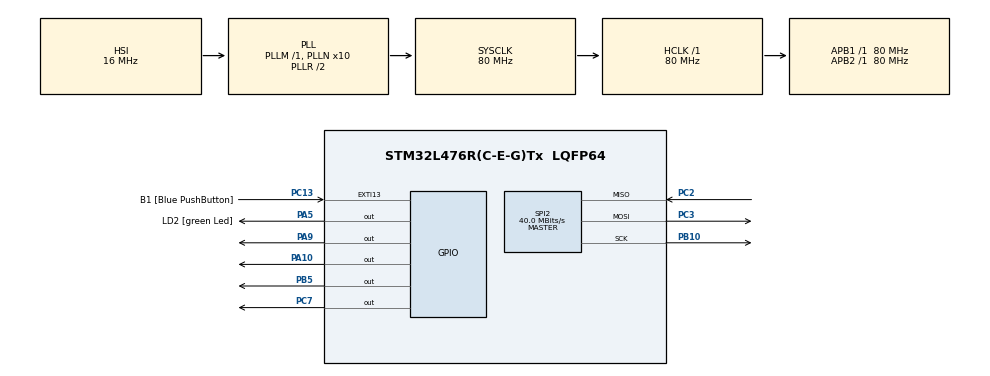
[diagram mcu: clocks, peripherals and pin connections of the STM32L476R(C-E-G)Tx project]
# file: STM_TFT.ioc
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Mcu.Family=STM32L4
Mcu.Name=STM32L476R(C-E-G)Tx
Mcu.Package=LQFP64
NVIC.PriorityGroup=NVIC_PRIORITYGROUP_4
PA10.Signal=GPIO_Output
PA13\ (JTMS-SWDIO).GPIO_Label=TMS
PA13\ (JTMS-SWDIO).Signal=SYS_JTMS-SWDIO
PA14\ (JTCK-SWCLK).GPIO_Label=TCK
PA14\ (JTCK-SWCLK).Signal=SYS_JTCK-SWCLK
PA2.GPIO_Label=USART_TX
PA2.GPIO_Mode=GPIO_MODE_AF_PP
PA2.GPIO_PuPd=GPIO_NOPULL
PA2.GPIO_Speed=GPIO_SPEED_FREQ_VERY_HIGH
PA2.Signal=USART2_TX
PA3.GPIO_Label=USART_RX
PA3.GPIO_Mode=GPIO_MODE_AF_PP
PA3.GPIO_PuPd=GPIO_NOPULL
PA3.GPIO_Speed=GPIO_SPEED_FREQ_VERY_HIGH
PA3.Signal=USART2_RX
PA5.GPIO_Label=LD2 [green Led]
PA5.GPIO_ModeDefaultOutputPP=GPIO_MODE_OUTPUT_PP
PA5.GPIO_PuPd=GPIO_NOPULL
PA5.GPIO_Speed=GPIO_SPEED_FREQ_LOW
PA5.Signal=GPIO_Output
PA9.Signal=GPIO_Output
PB10.Mode=Full_Duplex_Master
PB10.Signal=SPI2_SCK
PB3\ (JTDO-TRACESWO).GPIO_Label=SWO
PB3\ (JTDO-TRACESWO).Signal=SYS_JTDO-SWO
PB5.Signal=GPIO_Output
PC13.GPIO_Label=B1 [Blue PushButton]
PC13.GPIO_ModeDefaultEXTI=GPIO_MODE_IT_FALLING
PC13.GPIO_PuPd=GPIO_NOPULL
PC13.Signal=GPXTI13
PC14-OSC32_IN\ (PC14).Signal=RCC_OSC32_IN
PC15-OSC32_OUT\ (PC15).Signal=RCC_OSC32_OUT
PC2.Mode=Full_Duplex_Master
PC2.Signal=SPI2_MISO
PC3.Mode=Full_Duplex_Master
PC3.Signal=SPI2_MOSI
PC7.Signal=GPIO_Output
PH0-OSC_IN\ (PH0).Signal=RCC_OSC_IN
PH1-OSC_OUT\ (PH1).Signal=RCC_OSC_OUT
ProjectManager.HeapSize=0x200
ProjectManager.StackSize=0x400
ProjectManager.TargetToolchain=STM32CubeIDE
RCC.ADCFreq_Value=64000000
RCC.AHBFreq_Value=80000000
RCC.APB1Freq_Value=80000000
RCC.APB1TimFreq_Value=80000000
RCC.APB2Freq_Value=80000000
RCC.APB2TimFreq_Value=80000000
RCC.CortexFreq_Value=80000000
RCC.HCLKFreq_Value=80000000
RCC.HSE_VALUE=8000000
RCC.HSI_VALUE=16000000
RCC.LSE_VALUE=32768
RCC.MSI_VALUE=4000000
RCC.PLLN=10
RCC.PLLSourceVirtual=RCC_PLLSOURCE_HSI
RCC.PREFETCH_ENABLE=1
RCC.SYSCLKFreq_VALUE=80000000
RCC.SYSCLKSource=RCC_SYSCLKSOURCE_PLLCLK
RCC.USBFreq_Value=64000000
RCC.VCOOutputFreq_Value=160000000
SPI2.CalculateBaudRate=40.0 MBits/s
SPI2.DataSize=SPI_DATASIZE_8BIT
SPI2.Direction=SPI_DIRECTION_2LINES
SPI2.FirstBit=SPI_FIRSTBIT_MSB
SPI2.Mode=SPI_MODE_MASTER
SPI2.NSSPMode=SPI_NSS_PULSE_DISABLE
SPI2.VirtualType=VM_MASTER
board=NUCLEO-L476RG

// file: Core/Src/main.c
/* USER CODE BEGIN Header */
/**
  ******************************************************************************
  * @file           : main.c
  * @brief          : Main program body
  ******************************************************************************
  * @attention
  *
  * Copyright (c) 2026 STMicroelectronics.
  * All rights reserved.
  *
  * This software is licensed under terms that can be found in the LICENSE file
  * in the root directory of this software component.
  * If no LICENSE file comes with this software, it is provided AS-IS.
  *
  ******************************************************************************
  */
/* USER CODE END Header */
#include "main.h"
#include "spi.h"
#include "gpio.h"

/* USER CODE BEGIN Includes */
#include "core/include/platform.h"
#include "core/include/tft.h"
#include "core/include/spi_display.h"
#include "core/include/utils.h"
#include "core/include/scene.h"

/* USER CODE END Includes */

/* USER CODE BEGIN PV */
extern spi_display_t stm32_spi;
spi_display_t *spi_display = &stm32_spi;

extern scene_t cube_scene;
extern display_config_t ili9341_display_config;

gfx_t *active_gfx;
/* USER CODE END PV */

void SystemClock_Config(void);

/* USER CODE BEGIN 0 */

void delay_ms(uint32_t ms) {
    HAL_Delay(ms);
}

void platform_set_led(bool on) {
	HAL_GPIO_WritePin(GPIOC, GPIO_PIN_7,  on ? GPIO_PIN_SET : GPIO_PIN_RESET);
}

void platform_log(platform_log_level_t level, const char *tag, const char *fmt, ...) {
	// XXX do nothing for now
}

uint64_t now_ms(void) {
    return HAL_GetTick();
}

/* USER CODE END 0 */

int main(void)
{

  /* MCU Configuration--------------------------------------------------------*/

  /* Reset of all peripherals, Initializes the Flash interface and the Systick. */
  HAL_Init();

  /* Configure the system clock */
  SystemClock_Config();

  /* Initialize all configured peripherals */
  MX_GPIO_Init();
  MX_SPI2_Init();
  /* USER CODE BEGIN 2 */

  stm32_spi.spi_init();

  tft_init_config_t config = {
      .rotation = TFT_Landscape_Flipped,
      .display_config = &ili9341_display_config
  };

  active_gfx = tft_init(config);

  cube_scene.scene_init(&ili9341_display_config);

  scene_object_t *fps_text = active_gfx->gfx_add_text(0, 0, "FPS: 0", 1, get_color565(255, 255, 255));

  active_gfx->gfx_render();
  /* USER CODE END 2 */

  /* Infinite loop */
  /* USER CODE BEGIN WHILE */
  while (1)
  {
    cube_scene.scene_update(NULL);

    app_do_fps(fps_text);
    active_gfx->gfx_render();
    /* USER CODE END WHILE */

  }
}

void SystemClock_Config(void)
{
  RCC_OscInitTypeDef RCC_OscInitStruct = {0};
  RCC_ClkInitTypeDef RCC_ClkInitStruct = {0};

  /** Configure the main internal regulator output voltage
  */
  if (HAL_PWREx_ControlVoltageScaling(PWR_REGULATOR_VOLTAGE_SCALE1) != HAL_OK)
  {
    Error_Handler();
  }

  /** Initializes the RCC Oscillators according to the specified parameters
  * in the RCC_OscInitTypeDef structure.
  */
  RCC_OscInitStruct.OscillatorType = RCC_OSCILLATORTYPE_HSI;
  RCC_OscInitStruct.HSIState = RCC_HSI_ON;
  RCC_OscInitStruct.HSICalibrationValue = RCC_HSICALIBRATION_DEFAULT;
  RCC_OscInitStruct.PLL.PLLState = RCC_PLL_ON;
  RCC_OscInitStruct.PLL.PLLSource = RCC_PLLSOURCE_HSI;
  RCC_OscInitStruct.PLL.PLLM = 1;
  RCC_OscInitStruct.PLL.PLLN = 10;
  RCC_OscInitStruct.PLL.PLLP = RCC_PLLP_DIV7;
  RCC_OscInitStruct.PLL.PLLQ = RCC_PLLQ_DIV2;
  RCC_OscInitStruct.PLL.PLLR = RCC_PLLR_DIV2;
  if (HAL_RCC_OscConfig(&RCC_OscInitStruct) != HAL_OK)
  {
    Error_Handler();
  }

  /** Initializes the CPU, AHB and APB buses clocks
  */
  RCC_ClkInitStruct.ClockType = RCC_CLOCKTYPE_HCLK|RCC_CLOCKTYPE_SYSCLK
                              |RCC_CLOCKTYPE_PCLK1|RCC_CLOCKTYPE_PCLK2;
  RCC_ClkInitStruct.SYSCLKSource = RCC_SYSCLKSOURCE_PLLCLK;
  RCC_ClkInitStruct.AHBCLKDivider = RCC_SYSCLK_DIV1;
  RCC_ClkInitStruct.APB1CLKDivider = RCC_HCLK_DIV1;
  RCC_ClkInitStruct.APB2CLKDivider = RCC_HCLK_DIV1;

  if (HAL_RCC_ClockConfig(&RCC_ClkInitStruct, FLASH_LATENCY_4) != HAL_OK)
  {
    Error_Handler();
  }
}

void Error_Handler(void)
{
  __disable_irq();
  while (1)
  {
  }
}
